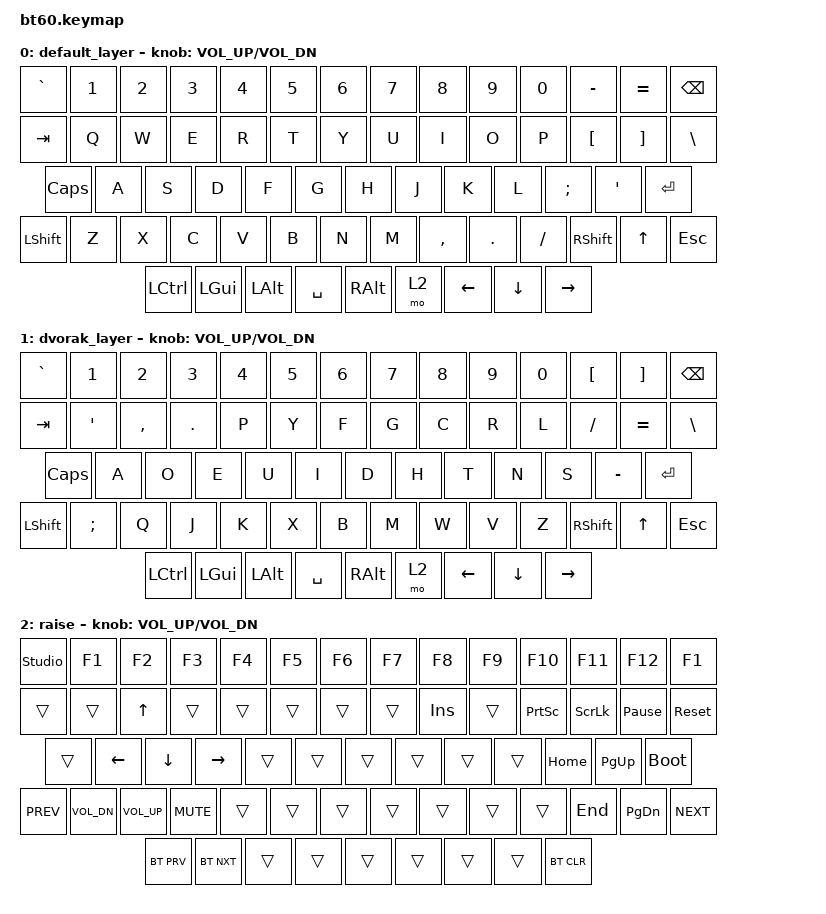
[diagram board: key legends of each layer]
#include <behaviors.dtsi>
#include <dt-bindings/zmk/keys.h>
#include <dt-bindings/zmk/bt.h>

/ {
	keymap {
		compatible = "zmk,keymap";

		default_layer {
                // ------------------------------------------------------------------------------------------
                // | ESC |  1  |  2  |  3  |  4  |  5  |  6  |  7  |  8  |  9  |  0  |  -  |  =  |   BSPC   |
                // | TAB  |  Q  |  W  |  E  |  R  |  T  |  Y  |  U  |  I  |  O  |  P  |  [  |  ]  |   "|"   |
                // | CAPS  |  A  |  S  |  D  |  F  |  G  |  H  |  J  |  K  |  L  |  ;  |  '  |     ENTER    |
                // |  SHIFT    |  Z  |  X  |  C  |  V  |  B  |  N  |  M  |  ,  |  .  | /   | SHFT | UP | 1  |
                // |  CTL  |  WIN  |  ALT  |            SPACE              | ALT | CTRL | LEFT | DOWN | RIGHT |
                // ------------------------------------------------------------------------------------------
            bindings = <
                &kp GRAVE &kp N1 &kp N2 &kp N3 &kp N4 &kp N5 &kp N6 &kp N7 &kp  N8   &kp  N9 &kp  N0  &kp MINUS &kp EQUAL &kp BSPC
                &kp TAB  &kp Q  &kp W  &kp E  &kp R  &kp T  &kp Y  &kp U  &kp  I    &kp  O  &kp  P   &kp LBKT &kp RBKT  &kp BSLH
                &kp CLCK  &kp A  &kp S  &kp D  &kp F  &kp G  &kp H  &kp J  &kp  K    &kp  L  &kp SEMI &kp SQT           &kp RET
                &kp LSHFT  &kp Z  &kp X  &kp C  &kp V  &kp B  &kp N  &kp M  &kp COMMA &kp DOT &kp FSLH    &kp RSHFT &kp UP   &kp ESC
                &kp LCTRL &kp LGUI &kp LALT            &kp SPACE                          &kp RALT  &mo 2 &kp LEFT &kp DOWN &kp RIGHT
            >;
            sensor-bindings = <&inc_dec_kp C_VOL_UP C_VOL_DN>;
        };

        dvorak_layer {
        	bindings = <
				&kp GRAVE &kp N1 &kp N2 &kp N3 &kp N4 &kp N5 &kp N6 &kp N7 &kp  N8   &kp  N9 &kp  N0  &kp LBKT &kp RBKT &kp BSPC 
				&kp TAB  &kp SQT  &kp COMMA &kp DOT  &kp P  &kp Y  &kp F  &kp G  &kp C    &kp R  &kp L   &kp FSLH &kp EQUAL  &kp BSLH
				&kp CLCK  &kp A  &kp O  &kp E  &kp U  &kp I  &kp D  &kp H  &kp T    &kp N  &kp S &kp MINUS           &kp RET
				&kp LSHFT  &kp SEMI  &kp Q  &kp J  &kp K  &kp X  &kp B  &kp M  &kp W &kp V &kp Z    &kp RSHFT &kp UP   &kp ESC
				&kp LCTRL &kp LEFT_GUI &kp LALT            &kp SPACE                          &kp RALT  &mo 2 &kp LEFT &kp DOWN &kp RIGHT  
			>;
			sensor-bindings = <&inc_dec_kp C_VOL_UP C_VOL_DN>;
		};

        raise {
            bindings = <
                &studio_unlock &kp F1 &kp F2 &kp F3 &kp F4 &kp F5 &kp F6 &kp F7 &kp  F8   &kp  F9 &kp  F10  &kp F11 &kp F12   &kp F1
                &trans &trans &kp UP &trans &trans &trans &trans &trans &kp INS &trans &kp PSCRN &kp SLCK &kp PAUSE_BREAK &sys_reset
                &trans    &kp LEFT &kp DOWN &kp RIGHT &trans &trans &trans &trans &trans &trans &kp HOME  &kp PG_UP   &bootloader
                &kp C_PREV &kp C_VOL_DN &kp C_VOL_UP &kp C_MUTE &trans &trans &trans &trans &trans &trans &trans &kp END &kp PG_DN  &kp C_NEXT
                &bt BT_PRV &bt BT_NXT  &trans              &trans                            &trans  &trans &trans   &trans &bt BT_CLR
            >;
            sensor-bindings = <&inc_dec_kp C_VOL_UP C_VOL_DN>;
        };
	};
};
